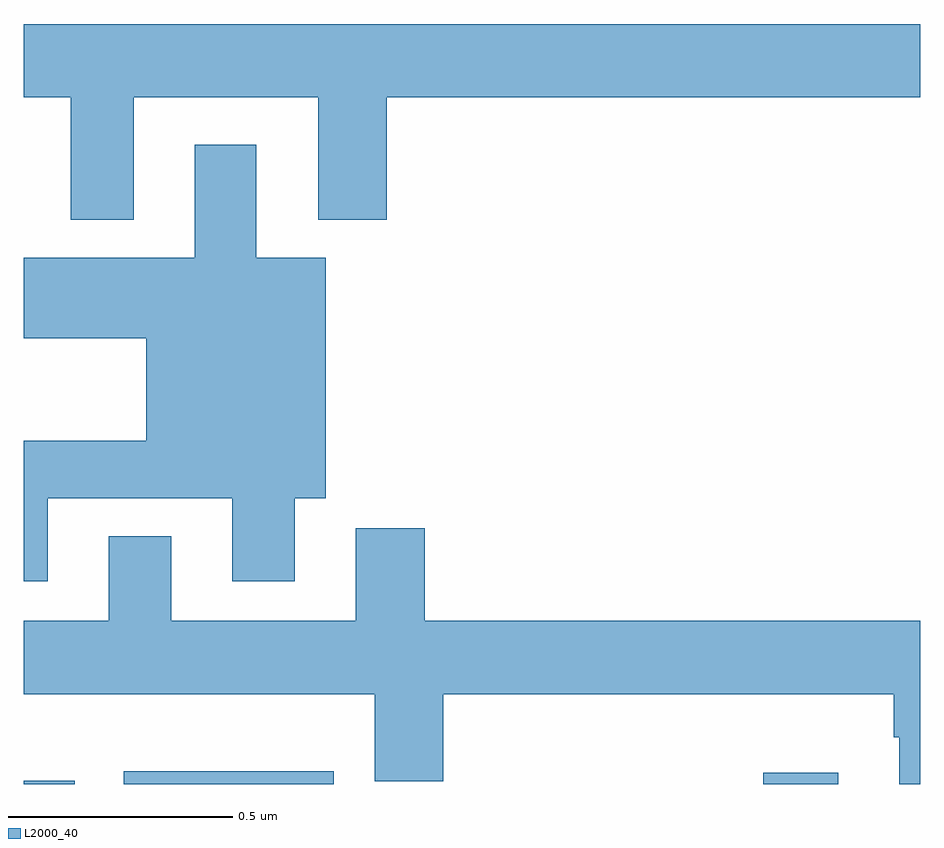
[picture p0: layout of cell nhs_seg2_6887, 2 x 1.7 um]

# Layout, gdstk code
import gdstk
lib = gdstk.Library(unit=1e-6, precision=1e-09)
def R(c, l, rs):  # rectangles x0, y0, x1, y1
    for r in rs: c.add(gdstk.rectangle(r[:2], r[2:], *l))
def P(c, l, *ps):  # polygons
    for p in ps: c.add(gdstk.Polygon(p, *l))
L2000_40 = (2000, 40)

nhs_seg2_6887 = lib.new_cell('nhs_seg2_6887')
R(nhs_seg2_6887, L2000_40, [(197,616.8,197.113,616.807), (197.223,616.8,197.692,616.828), (198.65,616.8,198.817,616.825)])
P(nhs_seg2_6887, L2000_40, [(197.245,618.332),(197.657,618.332),(197.657,618.059),(197.81,618.059),(197.81,618.332),(199,618.332),(199,618.496),(197,618.496),(197,618.332),(197.105,618.332),(197.105,618.059),(197.245,618.059)],
  [(197.053,617.438),(197.465,617.438),(197.465,617.253),(197.605,617.253),(197.605,617.438),(197.674,617.438),(197.674,617.974),(197.518,617.974),(197.518,618.226),(197.381,618.226),(197.381,617.974),(197,617.974),(197,617.795),(197.273,617.795),(197.273,617.566),(197,617.566),(197,617.253),(197.053,617.253)],
  [(199,617.164),(197.894,617.164),(197.894,617.371),(197.741,617.371),(197.741,617.164),(197.329,617.164),(197.329,617.353),(197.189,617.353),(197.189,617.164),(197,617.164),(197,617),(197.783,617),(197.783,616.806),(197.936,616.806),(197.936,617),(198.941,617),(198.941,616.904),(198.953,616.904),(198.953,616.8),(199,616.8)])

lib.write_gds('nhs_seg2_6887.gds')
